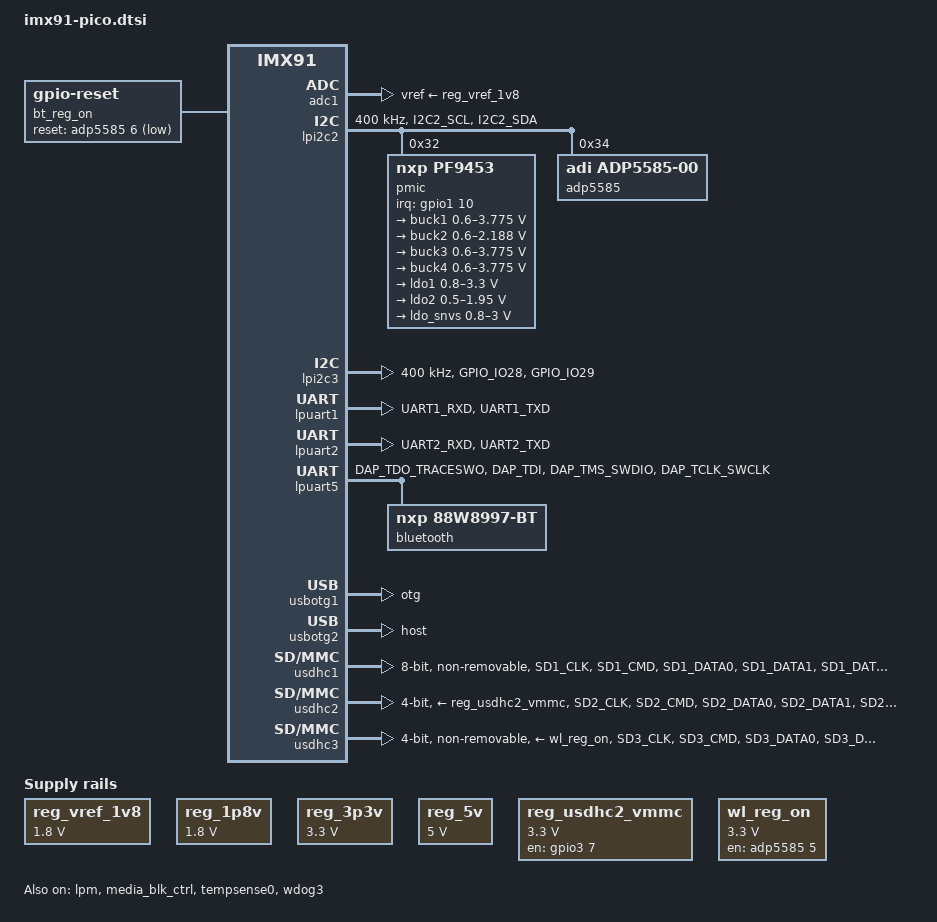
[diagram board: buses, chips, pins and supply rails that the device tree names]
// SPDX-License-Identifier: (GPL-2.0 OR MIT)
/*
 * Copyright 2024 NXP
 */

/dts-v1/;

#include <dt-bindings/usb/pd.h>
#include "imx91.dtsi"

&ele_fw2 {
	memory-region = <&ele_reserved>;
};

/ {
	reserved-memory {
		#address-cells = <2>;
		#size-cells = <2>;
		ranges;

		linux,cma {
			compatible = "shared-dma-pool";
			reusable;
			alloc-ranges = <0 0x80000000 0 0x40000000>;
			size = <0 0x4000000>;
			linux,cma-default;
		};

		ele_reserved: ele-reserved@a4120000 {
			compatible = "shared-dma-pool";
			reg = <0 0xa4120000 0 0x100000>;
			no-map;
		};
	};

	reg_vref_1v8: regulator-adc-vref {
		compatible = "regulator-fixed";
		regulator-name = "vref_1v8";
		regulator-min-microvolt = <1800000>;
		regulator-max-microvolt = <1800000>;
	};

	reg_1p8v: regulator-1p8v {
		compatible = "regulator-fixed";
		regulator-name = "1P8V";
		regulator-min-microvolt = <1800000>;
		regulator-max-microvolt = <1800000>;
		regulator-always-on;
	};

	reg_3p3v: regulator-3p3v {
		compatible = "regulator-fixed";
		regulator-name = "3P3V";
		regulator-min-microvolt = <3300000>;
		regulator-max-microvolt = <3300000>;
		regulator-always-on;
	};

	reg_5v: regulator-5v {
		compatible = "regulator-fixed";
		regulator-name = "5V";
		regulator-min-microvolt = <5000000>;
		regulator-max-microvolt = <5000000>;
		regulator-always-on;
	};

	reg_usdhc2_vmmc: regulator-usdhc2 {
		compatible = "regulator-fixed";
		pinctrl-names = "default";
		pinctrl-0 = <&pinctrl_reg_usdhc2_vmmc>;
		regulator-name = "VSD_3V3";
		regulator-min-microvolt = <3300000>;
		regulator-max-microvolt = <3300000>;
		gpio = <&gpio3 7 GPIO_ACTIVE_HIGH>;
		off-on-delay-us = <12000>;
		enable-active-high;
	};

	wl_reg_on: wlreg_on {
		compatible = "regulator-fixed";
		regulator-name = "WL_REG_ON";
		regulator-min-microvolt = <3300000>;
		regulator-max-microvolt = <3300000>;
		gpio = <&adp5585 5 GPIO_ACTIVE_HIGH>;
		off-on-delay = <20000>;
		startup-delay-us = <100>;
		enable-active-high;
	};

	bt_reg_on: btreg_on {
		compatible = "gpio-reset";
		reset-gpios = <&adp5585 6 GPIO_ACTIVE_LOW>;
		reset-delay-us = <2000>;
		reset-post-delay-ms = <200>;
		#reset-cells = <0>;
	};
};

&adc1 {
	vref-supply = <&reg_vref_1v8>;
	status = "okay";
};

&flexcan1 {
	pinctrl-names = "default";
	pinctrl-0 = <&pinctrl_flexcan1>;
	status = "disabled";
};

&lpi2c1 {
	clock-frequency = <400000>;
	pinctrl-names = "default";
	pinctrl-0 = <&pinctrl_lpi2c1>;
	status = "disabled";
};

&lpi2c2 {
	clock-frequency = <400000>;
	pinctrl-names = "default";
	pinctrl-0 = <&pinctrl_lpi2c2>;
	status = "okay";

	pmic@32{
		compatible = "nxp,pf9453";
		reg = <0x32>;
		pinctrl-names = "default";
		pinctrl-0 = <&pinctrl_pmic_irq>;
		interrupt-parent = <&gpio1>;
		interrupts = <10 IRQ_TYPE_LEVEL_LOW>;

		regulators{
			buck1: BUCK1 {
				regulator-name = "BUCK1";
				regulator-min-microvolt = <600000>;
				regulator-max-microvolt = <3775000>;
				regulator-boot-on;
				regulator-always-on;
			};

			buck2: BUCK2 {
				regulator-name = "BUCK2";
				regulator-min-microvolt = <600000>;
				regulator-max-microvolt = <2187500>;
				regulator-boot-on;
				regulator-always-on;
				regulator-ramp-delay = <12500>;
			};

			buck3: BUCK3 {
				regulator-name = "BUCK3";
				regulator-min-microvolt = <600000>;
				regulator-max-microvolt = <3775000>;
				regulator-boot-on;
				regulator-always-on;
			};

			buck4: BUCK4{
				regulator-name = "BUCK4";
				regulator-min-microvolt = <600000>;
				regulator-max-microvolt = <3775000>;
				regulator-boot-on;
				regulator-always-on;
			};

			ldo1: LDO1 {
				regulator-name = "LDO1";
				regulator-min-microvolt = <800000>;
				regulator-max-microvolt = <3300000>;
				regulator-boot-on;
				regulator-always-on;
			};

			ldo2: LDO2 {
				regulator-name = "LDO2";
				regulator-min-microvolt = <500000>;
				regulator-max-microvolt = <1950000>;
				regulator-boot-on;
				regulator-always-on;
			};

			ldo_snvs: LDO_SNVS {
				regulator-name = "LDO_SNVS";
				regulator-min-microvolt = <800000>;
				regulator-max-microvolt = <3000000>;
				regulator-boot-on;
				regulator-always-on;
			};
        };
    };

    adp5585: io-expander@34 {
		compatible = "adi,adp5585-00", "adi,adp5585";
		reg = <0x34>;
		gpio-controller;
		#gpio-cells = <2>;
		gpio-reserved-ranges = <5 1>;
		#pwm-cells = <3>;
		gpio-line-names = "SDIOREON", "WL_WAKE_HOST", "ENET1_RSTn", "R3_PWM", "BT_WAKE_HOST",
				"", "WL_REG_ON", "BT_REG_ON", "LCD_BL_EN", "HOST_WAKE_WL", "HOST_WAKE_BT";
	};
};

&lpi2c3 {
	clock-frequency = <400000>;
	pinctrl-names = "default";
	pinctrl-0 = <&pinctrl_lpi2c3>;
	status = "okay";
};

&lpuart1 { /* console */
	pinctrl-names = "default";
	pinctrl-0 = <&pinctrl_uart1>;
	status = "okay";
};

&lpuart2 {
	pinctrl-names = "default";
	pinctrl-0 = <&pinctrl_uart2>;
	status = "okay";
};

/* BT */
&lpuart5 {
	pinctrl-names = "default";
	pinctrl-0 = <&pinctrl_uart5>;
	assigned-clocks = <&clk IMX93_CLK_LPUART5>;
	assigned-clock-parents = <&clk IMX93_CLK_24M>;
	fsl,uart-has-rtscts;
	resets = <&bt_reg_on>;
	status = "okay";

	bluetooth {
		compatible = "nxp,88w8997-bt";
		fw-init-baudrate = <3000000>;
	};
};

&lpm {
	soc-supply = <&buck2>;
	status = "okay";
};

&media_blk_ctrl {
	status = "okay";
};

&sai1 {
    #sound-dai-cells = <0>;
	pinctrl-names = "default", "sleep";
	pinctrl-0 = <&pinctrl_sai1>;
	pinctrl-1 = <&pinctrl_sai1_sleep>;
	assigned-clocks = <&clk IMX93_CLK_SAI1>;
	assigned-clock-parents = <&clk IMX93_CLK_AUDIO_PLL>;
	assigned-clock-rates = <12288000>;
//	fsl,sai-mclk-direction-output;
	status = "disabled";
};

&sai2{
    #sound-dai-cells = <0>;
	pinctrl-names = "default", "sleep";
	pinctrl-0 = <&pinctrl_sai2>;
	pinctrl-1 = <&pinctrl_sai2_sleep>;
	assigned-clocks = <&clk IMX93_CLK_SAI2>;
	assigned-clock-parents = <&clk IMX93_CLK_AUDIO_PLL>;
	assigned-clock-rates = <12288000>;
//	fsl,sai-mclk-direction-output;
	status = "disabled";
};

&tempsense0 {
	status = "okay";
};

&usbotg1 {
	dr_mode = "otg";
	hnp-disable;
	srp-disable;
	adp-disable;
	usb-role-switch;
	disable-over-current;
	samsung,picophy-pre-emp-curr-control = <3>;
	samsung,picophy-dc-vol-level-adjust = <7>;
};

&usbotg2 {
	dr_mode = "host";
};

&usdhc1 {
	pinctrl-names = "default", "state_100mhz", "state_200mhz";
	pinctrl-0 = <&pinctrl_usdhc1>;
	pinctrl-1 = <&pinctrl_usdhc1_100mhz>;
	pinctrl-2 = <&pinctrl_usdhc1_200mhz>;
	bus-width = <8>;
	fsl,tuning-step = <1>;
	non-removable;
	status = "okay";
};

&usdhc2 {
	pinctrl-names = "default", "state_100mhz", "state_200mhz", "sleep";
	pinctrl-0 = <&pinctrl_usdhc2>, <&pinctrl_usdhc2_gpio>;
	pinctrl-1 = <&pinctrl_usdhc2_100mhz>, <&pinctrl_usdhc2_gpio>;
	pinctrl-2 = <&pinctrl_usdhc2_200mhz>, <&pinctrl_usdhc2_gpio>;
	pinctrl-3 = <&pinctrl_usdhc2_sleep>, <&pinctrl_usdhc2_gpio_sleep>;
	cd-gpios = <&gpio3 00 GPIO_ACTIVE_LOW>;
	fsl,cd-gpio-wakeup-disable;
	vmmc-supply = <&reg_usdhc2_vmmc>;
	bus-width = <4>;
	fsl,tuning-step = <1>;
	status = "okay";
	no-sdio;
	no-mmc;
};

/* WIFI SDIO */
&usdhc3 {
	pinctrl-names = "default", "state_100mhz", "state_200mhz", "sleep";
	pinctrl-0 = <&pinctrl_usdhc3>;
	pinctrl-1 = <&pinctrl_usdhc3_100mhz>;
	pinctrl-2 = <&pinctrl_usdhc3_200mhz>;
	pinctrl-3 = <&pinctrl_usdhc3_sleep>;
	vmmc-supply = <&wl_reg_on>;
	bus-width = <4>;
	pm-ignore-notify;
	keep-power-in-suspend;
	non-removable;
	status = "okay";
};

&wdog3 {
	status = "okay";
};

&iomuxc {
	pinctrl_eqos: eqosgrp {
		fsl,pins = <
			MX91_PAD_ENET1_MDC__ENET1_MDC			0x57e
			MX91_PAD_ENET1_MDIO__ENET_QOS_MDIO			0x57e
			MX91_PAD_ENET1_RD0__ENET_QOS_RGMII_RD0			0x57e
			MX91_PAD_ENET1_RD1__ENET_QOS_RGMII_RD1			0x57e
			MX91_PAD_ENET1_RD2__ENET_QOS_RGMII_RD2			0x57e
			MX91_PAD_ENET1_RD3__ENET_QOS_RGMII_RD3			0x57e
			MX91_PAD_ENET1_RXC__ENET_QOS_RGMII_RXC	0x5fe
			MX91_PAD_ENET1_RX_CTL__ENET_QOS_RGMII_RX_CTL		0x57e
			MX91_PAD_ENET1_TD0__ENET_QOS_RGMII_TD0			0x57e
			MX91_PAD_ENET1_TD1__ENET1_RGMII_TD1			0x57e
			MX91_PAD_ENET1_TD2__ENET_QOS_RGMII_TD2			0x57e
			MX91_PAD_ENET1_TD3__ENET_QOS_RGMII_TD3			0x57e
			MX91_PAD_ENET1_TXC__CCM_ENET_QOS_CLOCK_GENERATE_TX_CLK	0x5fe
			MX91_PAD_ENET1_TX_CTL__ENET_QOS_RGMII_TX_CTL		0x57e
		>;
	};

	pinctrl_eqos_sleep: eqosgrpsleep {
		fsl,pins = <
			MX91_PAD_ENET1_MDC__GPIO4_IO0				0x31e
			MX91_PAD_ENET1_MDIO__GPIO4_IO1				0x31e
			MX91_PAD_ENET1_RD0__GPIO4_IO10                          0x31e
			MX91_PAD_ENET1_RD1__GPIO4_IO11				0x31e
			MX91_PAD_ENET1_RD2__GPIO4_IO12				0x31e
			MX91_PAD_ENET1_RD3__GPIO4_IO13				0x31e
			MX91_PAD_ENET1_RXC__GPIO4_IO9                          0x31e
			MX91_PAD_ENET1_RX_CTL__GPIO4_IO8			0x31e
			MX91_PAD_ENET1_TD0__GPIO4_IO5                          0x31e
			MX91_PAD_ENET1_TD1__GPIO4_IO4                          0x31e
			MX91_PAD_ENET1_TD2__GPIO4_IO3				0x31e
			MX91_PAD_ENET1_TD3__GPIO4_IO2				0x31e
			MX91_PAD_ENET1_TXC__GPIO4_IO7                          0x31e
			MX91_PAD_ENET1_TX_CTL__GPIO4_IO6                       0x31e
		>;
	};

	pinctrl_lcdif: lcdifgrp {
		fsl,pins = <
			MX91_PAD_GPIO_IO00__MEDIAMIX_DISP_CLK		0x31e
			MX91_PAD_GPIO_IO01__MEDIAMIX_DISP_DE		0x31e
			MX91_PAD_GPIO_IO02__MEDIAMIX_DISP_VSYNC		0x31e
			MX91_PAD_GPIO_IO03__MEDIAMIX_DISP_HSYNC		0x31e
			MX91_PAD_GPIO_IO04__MEDIAMIX_DISP_DATA0		0x31e
			MX91_PAD_GPIO_IO05__MEDIAMIX_DISP_DATA1		0x31e
			MX91_PAD_GPIO_IO06__MEDIAMIX_DISP_DATA2		0x31e
			MX91_PAD_GPIO_IO07__MEDIAMIX_DISP_DATA3		0x31e
			MX91_PAD_GPIO_IO08__MEDIAMIX_DISP_DATA4		0x31e
			MX91_PAD_GPIO_IO09__MEDIAMIX_DISP_DATA5		0x31e
			MX91_PAD_GPIO_IO10__MEDIAMIX_DISP_DATA6		0x31e
			MX91_PAD_GPIO_IO11__MEDIAMIX_DISP_DATA7		0x31e
			MX91_PAD_GPIO_IO12__MEDIAMIX_DISP_DATA8		0x31e
			MX91_PAD_GPIO_IO13__MEDIAMIX_DISP_DATA9		0x31e
			MX91_PAD_GPIO_IO14__MEDIAMIX_DISP_DATA10	0x31e
			MX91_PAD_GPIO_IO15__MEDIAMIX_DISP_DATA11	0x31e
			MX91_PAD_GPIO_IO16__MEDIAMIX_DISP_DATA12	0x31e
			MX91_PAD_GPIO_IO17__MEDIAMIX_DISP_DATA13	0x31e
			MX91_PAD_GPIO_IO18__MEDIAMIX_DISP_DATA14	0x31e
			MX91_PAD_GPIO_IO19__MEDIAMIX_DISP_DATA15	0x31e
			MX91_PAD_GPIO_IO20__MEDIAMIX_DISP_DATA16	0x31e
			MX91_PAD_GPIO_IO21__MEDIAMIX_DISP_DATA17	0x31e
			MX91_PAD_GPIO_IO22__MEDIAMIX_DISP_DATA18	0x31e
			MX91_PAD_GPIO_IO23__MEDIAMIX_DISP_DATA19	0x31e
			MX91_PAD_GPIO_IO24__MEDIAMIX_DISP_DATA20	0x31e
			MX91_PAD_GPIO_IO25__MEDIAMIX_DISP_DATA21	0x31e
			MX91_PAD_GPIO_IO26__MEDIAMIX_DISP_DATA22	0x31e
			MX91_PAD_GPIO_IO27__MEDIAMIX_DISP_DATA23	0x31e
		>;
	};

	pinctrl_lcdif_gpio: lcdifgpiogrp {
		fsl,pins = <
			MX91_PAD_GPIO_IO00__GPIO2_IO0			0x51e
			MX91_PAD_GPIO_IO01__GPIO2_IO1			0x51e
			MX91_PAD_GPIO_IO02__GPIO2_IO2			0x51e
			MX91_PAD_GPIO_IO03__GPIO2_IO3			0x51e
		>;
	};

	pinctrl_lpi2c1: lpi2c1grp {
		fsl,pins = <
			MX91_PAD_I2C1_SCL__LPI2C1_SCL			0x40000b9e
			MX91_PAD_I2C1_SDA__LPI2C1_SDA			0x40000b9e
		>;
	};

	pinctrl_lpi2c2: lpi2c2grp {
		fsl,pins = <
			MX91_PAD_I2C2_SCL__LPI2C2_SCL			0x40000b9e
			MX91_PAD_I2C2_SDA__LPI2C2_SDA			0x40000b9e
		>;
	};

	pinctrl_lpi2c3: lpi2c3grp {
		fsl,pins = <
			MX91_PAD_GPIO_IO28__LPI2C3_SDA			0x40000b9e
			MX91_PAD_GPIO_IO29__LPI2C3_SCL			0x40000b9e
		>;
	};

	pinctrl_uart1: uart1grp {
		fsl,pins = <
			MX91_PAD_UART1_RXD__LPUART1_RX			0x31e
			MX91_PAD_UART1_TXD__LPUART1_TX			0x31e
		>;
	};

	pinctrl_uart2: uart2grp {
		fsl,pins = <
			MX91_PAD_UART2_RXD__LPUART2_RX			0x31e
			MX91_PAD_UART2_TXD__LPUART2_TX			0x31e
		>;
	};

	pinctrl_uart5: uart5grp {
		fsl,pins = <
			MX91_PAD_DAP_TDO_TRACESWO__LPUART5_TX	0x31e
			MX91_PAD_DAP_TDI__LPUART5_RX		0x31e
			MX91_PAD_DAP_TMS_SWDIO__LPUART5_RTS_B	0x31e
			MX91_PAD_DAP_TCLK_SWCLK__LPUART5_CTS_B	0x31e
		>;
	};

	pinctrl_usdhc1: usdhc1grp {
		fsl,pins = <
			MX91_PAD_SD1_CLK__USDHC1_CLK		0x1582
			MX91_PAD_SD1_CMD__USDHC1_CMD		0x1382
			MX91_PAD_SD1_DATA0__USDHC1_DATA0	0x1382
			MX91_PAD_SD1_DATA1__USDHC1_DATA1	0x1382
			MX91_PAD_SD1_DATA2__USDHC1_DATA2	0x1382
			MX91_PAD_SD1_DATA3__USDHC1_DATA3	0x1382
			MX91_PAD_SD1_DATA4__USDHC1_DATA4	0x1382
			MX91_PAD_SD1_DATA5__USDHC1_DATA5	0x1382
			MX91_PAD_SD1_DATA6__USDHC1_DATA6	0x1382
			MX91_PAD_SD1_DATA7__USDHC1_DATA7	0x1382
			MX91_PAD_SD1_STROBE__USDHC1_STROBE	0x1582
		>;
	};

	pinctrl_usdhc1_100mhz: usdhc1-100mhzgrp {
		fsl,pins = <
			MX91_PAD_SD1_CLK__USDHC1_CLK		0x158e
			MX91_PAD_SD1_CMD__USDHC1_CMD		0x138e
			MX91_PAD_SD1_DATA0__USDHC1_DATA0	0x138e
			MX91_PAD_SD1_DATA1__USDHC1_DATA1	0x138e
			MX91_PAD_SD1_DATA2__USDHC1_DATA2	0x138e
			MX91_PAD_SD1_DATA3__USDHC1_DATA3	0x138e
			MX91_PAD_SD1_DATA4__USDHC1_DATA4	0x138e
			MX91_PAD_SD1_DATA5__USDHC1_DATA5	0x138e
			MX91_PAD_SD1_DATA6__USDHC1_DATA6	0x138e
			MX91_PAD_SD1_DATA7__USDHC1_DATA7	0x138e
			MX91_PAD_SD1_STROBE__USDHC1_STROBE	0x158e
		>;
	};

	pinctrl_usdhc1_200mhz: usdhc1-200mhzgrp {
		fsl,pins = <
			MX91_PAD_SD1_CLK__USDHC1_CLK		0x15fe
			MX91_PAD_SD1_CMD__USDHC1_CMD		0x13fe
			MX91_PAD_SD1_DATA0__USDHC1_DATA0	0x13fe
			MX91_PAD_SD1_DATA1__USDHC1_DATA1	0x13fe
			MX91_PAD_SD1_DATA2__USDHC1_DATA2	0x13fe
			MX91_PAD_SD1_DATA3__USDHC1_DATA3	0x13fe
			MX91_PAD_SD1_DATA4__USDHC1_DATA4	0x13fe
			MX91_PAD_SD1_DATA5__USDHC1_DATA5	0x13fe
			MX91_PAD_SD1_DATA6__USDHC1_DATA6	0x13fe
			MX91_PAD_SD1_DATA7__USDHC1_DATA7	0x13fe
			MX91_PAD_SD1_STROBE__USDHC1_STROBE	0x15fe
		>;
	};

	pinctrl_reg_usdhc2_vmmc: regusdhc2vmmcgrp {
		fsl,pins = <
			MX91_PAD_SD2_RESET_B__GPIO3_IO7		0x31e
		>;
	};

	pinctrl_usdhc2_gpio: usdhc2gpiogrp {
		fsl,pins = <
			MX91_PAD_SD2_CD_B__GPIO3_IO0		0x31e
		>;
	};

	pinctrl_usdhc2_gpio_sleep: usdhc2gpiogrpsleep {
		fsl,pins = <
			MX91_PAD_SD2_CD_B__GPIO3_IO0		0x51e
		>;
	};

	pinctrl_usdhc2: usdhc2grp {
		fsl,pins = <
			MX91_PAD_SD2_CLK__USDHC2_CLK		0x1582
			MX91_PAD_SD2_CMD__USDHC2_CMD		0x1382
			MX91_PAD_SD2_DATA0__USDHC2_DATA0	0x1382
			MX91_PAD_SD2_DATA1__USDHC2_DATA1	0x1382
			MX91_PAD_SD2_DATA2__USDHC2_DATA2	0x1382
			MX91_PAD_SD2_DATA3__USDHC2_DATA3	0x1382
			MX91_PAD_SD2_VSELECT__USDHC2_VSELECT	0x51e
		>;
	};

	pinctrl_usdhc2_100mhz: usdhc2-100mhzgrp {
		fsl,pins = <
			MX91_PAD_SD2_CLK__USDHC2_CLK		0x158e
			MX91_PAD_SD2_CMD__USDHC2_CMD		0x138e
			MX91_PAD_SD2_DATA0__USDHC2_DATA0	0x138e
			MX91_PAD_SD2_DATA1__USDHC2_DATA1	0x138e
			MX91_PAD_SD2_DATA2__USDHC2_DATA2	0x138e
			MX91_PAD_SD2_DATA3__USDHC2_DATA3	0x138e
			MX91_PAD_SD2_VSELECT__USDHC2_VSELECT	0x51e
		>;
	};

	pinctrl_usdhc2_200mhz: usdhc2-200mhzgrp {
		fsl,pins = <
			MX91_PAD_SD2_CLK__USDHC2_CLK		0x15fe
			MX91_PAD_SD2_CMD__USDHC2_CMD		0x13fe
			MX91_PAD_SD2_DATA0__USDHC2_DATA0	0x13fe
			MX91_PAD_SD2_DATA1__USDHC2_DATA1	0x13fe
			MX91_PAD_SD2_DATA2__USDHC2_DATA2	0x13fe
			MX91_PAD_SD2_DATA3__USDHC2_DATA3	0x13fe
			MX91_PAD_SD2_VSELECT__USDHC2_VSELECT	0x51e
		>;
	};

	pinctrl_usdhc2_sleep: usdhc2grpsleep {
		fsl,pins = <
			MX91_PAD_SD2_CLK__GPIO3_IO1		0x51e
			MX91_PAD_SD2_CMD__GPIO3_IO2		0x51e
			MX91_PAD_SD2_DATA0__GPIO3_IO3		0x51e
			MX91_PAD_SD2_DATA1__GPIO3_IO4		0x51e
			MX91_PAD_SD2_DATA2__GPIO3_IO5		0x51e
			MX91_PAD_SD2_DATA3__GPIO3_IO6		0x51e
			MX91_PAD_SD2_VSELECT__GPIO3_IO19	0x51e
		>;
	};

	pinctrl_usdhc3: usdhc3grp {
		fsl,pins = <
			MX91_PAD_SD3_CLK__USDHC3_CLK		0x1582
			MX91_PAD_SD3_CMD__USDHC3_CMD		0x1382
			MX91_PAD_SD3_DATA0__USDHC3_DATA0	0x1382
			MX91_PAD_SD3_DATA1__USDHC3_DATA1	0x1382
			MX91_PAD_SD3_DATA2__USDHC3_DATA2	0x1382
			MX91_PAD_SD3_DATA3__USDHC3_DATA3	0x1382
		>;
	};

	pinctrl_usdhc3_100mhz: usdhc3-100mhzgrp {
		fsl,pins = <
			MX91_PAD_SD3_CLK__USDHC3_CLK		0x158e
			MX91_PAD_SD3_CMD__USDHC3_CMD		0x138e
			MX91_PAD_SD3_DATA0__USDHC3_DATA0	0x138e
			MX91_PAD_SD3_DATA1__USDHC3_DATA1	0x138e
			MX91_PAD_SD3_DATA2__USDHC3_DATA2	0x138e
			MX91_PAD_SD3_DATA3__USDHC3_DATA3	0x138e
		>;
	};

	pinctrl_usdhc3_200mhz: usdhc3-200mhzgrp {
		fsl,pins = <
			MX91_PAD_SD3_CLK__USDHC3_CLK		0x15fe
			MX91_PAD_SD3_CMD__USDHC3_CMD		0x13fe
			MX91_PAD_SD3_DATA0__USDHC3_DATA0	0x13fe
			MX91_PAD_SD3_DATA1__USDHC3_DATA1	0x13fe
			MX91_PAD_SD3_DATA2__USDHC3_DATA2	0x13fe
			MX91_PAD_SD3_DATA3__USDHC3_DATA3	0x13fe
		>;
	};

	pinctrl_usdhc3_sleep: usdhc3grpsleep {
		fsl,pins = <
			MX91_PAD_SD3_CLK__GPIO3_IO20		0x31e
			MX91_PAD_SD3_CMD__GPIO3_IO21		0x31e
			MX91_PAD_SD3_DATA0__GPIO3_IO22		0x31e
			MX91_PAD_SD3_DATA1__GPIO3_IO23		0x31e
			MX91_PAD_SD3_DATA2__GPIO3_IO24		0x31e
			MX91_PAD_SD3_DATA3__GPIO3_IO25		0x31e
		>;
	};

	pinctrl_sai1: sai1grp {
		fsl,pins = <
			MX91_PAD_SAI1_TXC__SAI1_TX_BCLK			0x31e
			MX91_PAD_SAI1_TXFS__SAI1_TX_SYNC		0x31e
			MX91_PAD_SAI1_TXD0__SAI1_TX_DATA0		0x31e
			MX91_PAD_SAI1_RXD0__SAI1_RX_DATA0		0x31e
		>;
	};

	pinctrl_sai1_sleep: sai1grpsleep {
		fsl,pins = <
			MX91_PAD_SAI1_TXC__GPIO1_IO12			0x51e
			MX91_PAD_SAI1_TXFS__GPIO1_IO11			0x51e
			MX91_PAD_SAI1_TXD0__GPIO1_IO13			0x51e
			MX91_PAD_SAI1_RXD0__GPIO1_IO14			0x51e
		>;
	};

	pinctrl_sai2: sai2grp {
		fsl,pins = <
			MX91_PAD_ENET2_TXC__SAI2_TX_BCLK 		0x31e
			MX91_PAD_ENET2_TX_CTL__SAI2_TX_SYNC		0x31e
			MX91_PAD_ENET2_RX_CTL__SAI2_TX_DATA0		0x31e
			MX91_PAD_ENET2_TD3__SAI2_RX_DATA0		0x31e
		>;
	};

	pinctrl_sai2_sleep: sai2grpsleep {
		fsl,pins = <
			MX91_PAD_ENET2_TXC__GPIO4_IO21			0x51e
			MX91_PAD_ENET2_TX_CTL__GPIO4_IO20		0x51e
			MX91_PAD_ENET2_RX_CTL__GPIO4_IO22		0x51e
			MX91_PAD_ENET2_TD3__GPIO4_IO16			0x51e
		>;
	};

	pinctrl_flexcan1: flexcan1grp {
		fsl,pins = <
			MX91_PAD_PDM_CLK__CAN1_TX			0x139e
			MX91_PAD_PDM_BIT_STREAM0__CAN1_RX		0x139e
		>;
	};

	pinctrl_pmic_irq: pmicirqgrp {
		fsl,pins = <
			MX91_PAD_PDM_BIT_STREAM1__GPIO1_IO10		0x31e
		>;
	};

	pinctrl_pca9555bs_a23_irq: pca9555bsa23irqgrp {
		fsl,pins = <
			MX91_PAD_ENET2_RD0__GPIO4_IO24			0x31e
		>;
	};

	pinctrl_usb_otg_vbus: usbotgvbusgrp {
		fsl,pins = <
			MX91_PAD_CCM_CLKO1__GPIO3_IO26			0x31e
		>;
	};

	pinctrl_usb_hub_rst: usbhubrstgrp {
		fsl,pins = <
			MX91_PAD_ENET2_TD2__GPIO4_IO17 			0x31e
		>;
	};

	pinctrl_touch: touchgrp {
		fsl,pins = <
			MX91_PAD_ENET2_MDIO__GPIO4_IO15			0x31e
			MX91_PAD_ENET2_RD1__GPIO4_IO25			0x31e
		>;
	};
};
